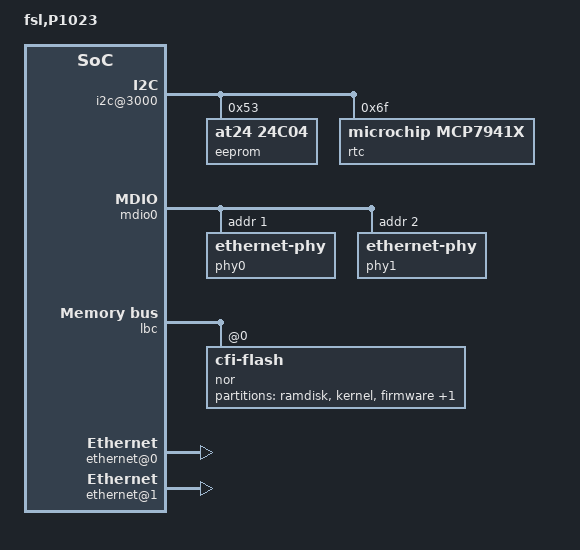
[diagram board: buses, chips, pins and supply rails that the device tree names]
/*
 * P1023 RDB Device Tree Source
 *
 *    Copyright 2013 Freescale Semiconductor Inc.
 *
 * Author: Roy Zang <tie-fei.zang@freescale.com>
 *	   Chunhe Lan <Chunhe.Lan@freescale.com>
 *
 * Redistribution and use in source and binary forms, with or without
 * modification, are permitted provided that the following conditions are met:
 *     * Redistributions of source code must retain the above copyright
 *       notice, this list of conditions and the following disclaimer.
 *     * Redistributions in binary form must reproduce the above copyright
 *       notice, this list of conditions and the following disclaimer in the
 *       documentation and/or other materials provided with the distribution.
 *     * Neither the name of Freescale Semiconductor nor the
 *       names of its contributors may be used to endorse or promote products
 *       derived from this software without specific prior written permission.
 *
 *
 * ALTERNATIVELY, this software may be distributed under the terms of the
 * GNU General Public License ("GPL") as published by the Free Software
 * Foundation, either version 2 of that License or (at your option) any
 * later version.
 *
 * THIS SOFTWARE IS PROVIDED BY Freescale Semiconductor ``AS IS'' AND ANY
 * EXPRESS OR IMPLIED WARRANTIES, INCLUDING, BUT NOT LIMITED TO, THE IMPLIED
 * WARRANTIES OF MERCHANTABILITY AND FITNESS FOR A PARTICULAR PURPOSE ARE
 * DISCLAIMED. IN NO EVENT SHALL Freescale Semiconductor BE LIABLE FOR ANY
 * DIRECT, INDIRECT, INCIDENTAL, SPECIAL, EXEMPLARY, OR CONSEQUENTIAL DAMAGES
 * (INCLUDING, BUT NOT LIMITED TO, PROCUREMENT OF SUBSTITUTE GOODS OR SERVICES;
 * LOSS OF USE, DATA, OR PROFITS; OR BUSINESS INTERRUPTION) HOWEVER CAUSED AND
 * ON ANY THEORY OF LIABILITY, WHETHER IN CONTRACT, STRICT LIABILITY, OR TORT
 * (INCLUDING NEGLIGENCE OR OTHERWISE) ARISING IN ANY WAY OUT OF THE USE OF THIS
 * SOFTWARE, EVEN IF ADVISED OF THE POSSIBILITY OF SUCH DAMAGE.
 */

/include/ "fsl/p1023si-pre.dtsi"

/ {
	model = "fsl,P1023";
	compatible = "fsl,P1023RDB";
	#address-cells = <2>;
	#size-cells = <2>;
	interrupt-parent = <&mpic>;

	aliases {
		ethernet0 = &enet0;
		ethernet1 = &enet1;
	};

	memory {
		device_type = "memory";
	};

	qportals: qman-portals@ff000000 {
		ranges = <0x0 0xf 0xff000000 0x200000>;
	};

	bportals: bman-portals@ff200000 {
		ranges = <0x0 0xf 0xff200000 0x200000>;
	};

	soc: soc@ff600000 {
		ranges = <0x0 0x0 0xff600000 0x200000>;

		i2c@3000 {
			eeprom@53 {
				compatible = "at24,24c04";
				reg = <0x53>;
			};

			rtc@6f {
				compatible = "microchip,mcp7941x";
				reg = <0x6f>;
			};
		};

		usb@22000 {
			dr_mode = "host";
			phy_type = "ulpi";
		};

		fman0: fman@100000 {
			enet0: ethernet@e0000 {
				phy-handle = <&phy0>;
				phy-connection-type = "rgmii";
			};
			enet1: ethernet@e2000 {
				phy-handle = <&phy1>;
				phy-connection-type = "rgmii";
			};
			mdio0: mdio@e1120 {
				phy0: ethernet-phy@1 {
					reg = <0x01>;
				};
				phy1: ethernet-phy@2 {
					reg = <0x02>;
				};
			};
		};
	};

	lbc: localbus@ff605000 {
		reg = <0 0xff605000 0 0x1000>;

		/* NOR Flash */
		ranges = <0x0 0x0 0x0 0xec000000 0x04000000>;

		nor@0,0 {
			#address-cells = <1>;
			#size-cells = <1>;
			compatible = "cfi-flash";
			reg = <0x0 0x0 0x04000000>;
			bank-width = <2>;
			device-width = <1>;

			partition@0 {
				label = "ramdisk";
				reg = <0x00000000 0x03000000>;
			};
			partition@3000000 {
				label = "kernel";
				reg = <0x03000000 0x00ee0000>;
			};
			partiton@3ee0000 {
				label = "dtb";
				reg = <0x03ee0000 0x00020000>;
			};
			partition@3f00000 {
				label = "firmware";
				reg = <0x03f00000 0x00080000>;
				read-only;
			};
			partition@3f80000 {
				label = "u-boot";
				reg = <0x03f80000 0x00080000>;
				read-only;
			};
		};
	};

	pci0: pcie@ff60a000 {
		reg = <0 0xff60a000 0 0x1000>;
		ranges = <0x2000000 0x0 0xc0000000 0 0xc0000000 0x0 0x20000000
			  0x1000000 0x0 0x00000000 0 0xffc20000 0x0 0x10000>;
		pcie@0 {
			/* IRQ[0:3] are pulled up on board, set to active-low */
			interrupt-map-mask = <0xf800 0 0 7>;
			interrupt-map = <
				/* IDSEL 0x0 */
				0000 0 0 1 &mpic 0 1 0 0
				0000 0 0 2 &mpic 1 1 0 0
				0000 0 0 3 &mpic 2 1 0 0
				0000 0 0 4 &mpic 3 1 0 0
				>;
			ranges = <0x2000000 0x0 0xc0000000
				  0x2000000 0x0 0xc0000000
				  0x0 0x20000000

				  0x1000000 0x0 0x0
				  0x1000000 0x0 0x0
				  0x0 0x100000>;
		};
	};

	board_pci1: pci1: pcie@ff609000 {
		reg = <0 0xff609000 0 0x1000>;
		ranges = <0x2000000 0x0 0xa0000000 0 0xa0000000 0x0 0x20000000
			  0x1000000 0x0 0x00000000 0 0xffc10000 0x0 0x10000>;
		pcie@0 {
			/*
			 * IRQ[4:6] only for PCIe, set to active-high,
			 * IRQ[7] is pulled up on board, set to active-low
			 */
			interrupt-map-mask = <0xf800 0 0 7>;
			interrupt-map = <
				/* IDSEL 0x0 */
				0000 0 0 1 &mpic 4 2 0 0
				0000 0 0 2 &mpic 5 2 0 0
				0000 0 0 3 &mpic 6 2 0 0
				0000 0 0 4 &mpic 7 1 0 0
				>;
			ranges = <0x2000000 0x0 0xa0000000
				  0x2000000 0x0 0xa0000000
				  0x0 0x20000000

				  0x1000000 0x0 0x0
				  0x1000000 0x0 0x0
				  0x0 0x100000>;
		};
	};

	pci2: pcie@ff60b000 {
		reg = <0 0xff60b000 0 0x1000>;
		ranges = <0x2000000 0x0 0x80000000 0 0x80000000 0x0 0x20000000
			  0x1000000 0x0 0x00000000 0 0xffc00000 0x0 0x10000>;
		pcie@0 {
			/*
			 * IRQ[8:10] are pulled up on board, set to active-low
			 * IRQ[11] only for PCIe, set to active-high,
			 */
			interrupt-map-mask = <0xf800 0 0 7>;
			interrupt-map = <
				/* IDSEL 0x0 */
				0000 0 0 1 &mpic 8 1 0 0
				0000 0 0 2 &mpic 9 1 0 0
				0000 0 0 3 &mpic 10 1 0 0
				0000 0 0 4 &mpic 11 2 0 0
				>;
			ranges = <0x2000000 0x0 0x80000000
				  0x2000000 0x0 0x80000000
				  0x0 0x20000000

				  0x1000000 0x0 0x0
				  0x1000000 0x0 0x0
				  0x0 0x100000>;
		};
	};

	fsl,dpaa {
		compatible = "fsl,p1023-dpaa", "fsl,dpaa";

		ethernet@0 {
			compatible = "fsl,p1023-dpa-ethernet", "fsl,dpa-ethernet";
			fsl,fman-mac = <&enet0>;
		};
		ethernet@1 {
			compatible = "fsl,p1023-dpa-ethernet", "fsl,dpa-ethernet";
			fsl,fman-mac = <&enet1>;
		};
	};
};

/include/ "fsl/p1023si-post.dtsi"

/include/ "fsl/qoriq-dpaa-res2.dtsi"
